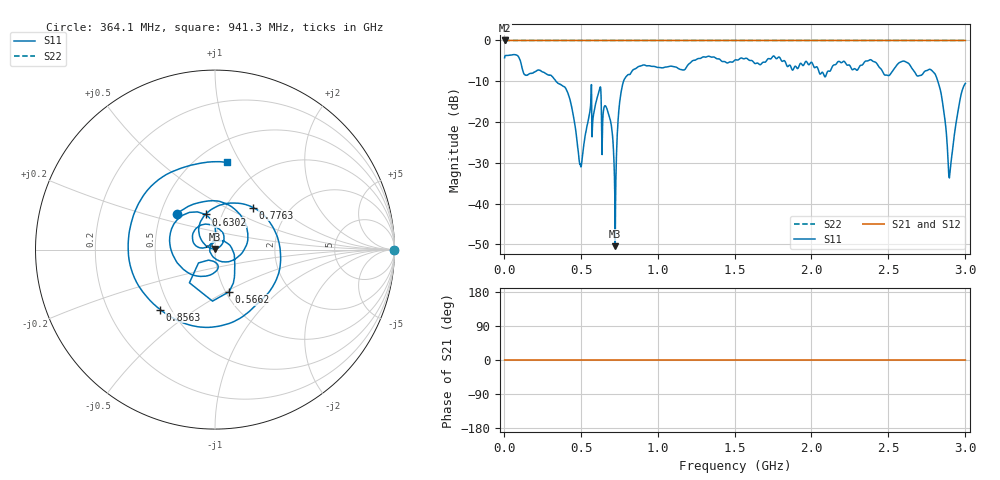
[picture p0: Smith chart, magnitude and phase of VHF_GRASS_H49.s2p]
!Keysight Technologies N9923A: A.08.09
!Date: Thursday, 02 August 2018 08:17:15
!Timezone: (GMT+08:00) Kuala Lumpur, Singapore
!Model: N9923A
!Serial: MY52412143
!GPS Latitude:
!GPS Longitude:
!GPS TimeStamp: 0001-01-01 00:00:00Z
!GPS Seconds Since Last Read: 0
!CHECKSUM:2110258566
!Correction: S11(ON U)S21()S12()S22()
!S2P File: Measurements:S11,S21,S12,S22:
# Hz S DB R 50
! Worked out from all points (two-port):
!   3000 points, 2 MHz to 3.002 GHz, reference 50 ohm
!   highest |S21| = 0.00 dB at 2 MHz (marker M1); lowest = 0.0 dB at 2 MHz (marker M2)
!   |S21| within 3 dB of the highest: start of sweep to end of sweep
!   lowest |S11| = -50.5 dB at 722.2 MHz (marker M3), VSWR 1.01, Z = 49.9 + j0.293 ohm
!   |S11| at or under -10 dB: 336 MHz to 776.3 MHz (440.3 MHz wide, 79.2 % of centre); 2.822 GHz to end of sweep
!   |S22| runs from 0.0 to 0.0 dB; largest |S21 - S12| = 0
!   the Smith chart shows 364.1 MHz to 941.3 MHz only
!   S11 on the Smith chart (normalised r, x): 364.1 MHz: 0.61, +0.26; 566.2 MHz: 1.04, -0.52; 630.2 MHz: 0.84, +0.34; 776.3 MHz: 1.33, +0.69; 856.3 MHz: 0.44, -0.37; 941.3 MHz: 0.68, +0.87
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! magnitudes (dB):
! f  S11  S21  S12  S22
! 2 MHz  -4.3  0.0  0.0  0.0
! 364.1 MHz  -10.7  0.0  0.0  0.0
! 424.1 MHz  -14.1  0.0  0.0  0.0
! 502.2 MHz  -30.6  0.0  0.0  0.0
! 566.2 MHz  -12.1  0.0  0.0  0.0
! 615.2 MHz  -12.7  0.0  0.0  0.0
! 630.2 MHz  -13.9  0.0  0.0  0.0
! 685.2 MHz  -18.9  0.0  0.0  0.0
! 722.2 MHz  -50.5  0.0  0.0  0.0
! 750.2 MHz  -15.4  0.0  0.0  0.0
! 776.3 MHz  -10.0  0.0  0.0  0.0
! 856.3 MHz  -6.9  0.0  0.0  0.0
! 941.3 MHz  -6.2  0.0  0.0  0.0
! 1.002 GHz  -6.6  0.0  0.0  0.0
! 1.503 GHz  -4.8  0.0  0.0  0.0
! 2.003 GHz  -5.4  0.0  0.0  0.0
! 2.503 GHz  -8.6  0.0  0.0  0.0
! 2.596 GHz  -5.1  0.0  0.0  0.0
! 2.799 GHz  -7.9  0.0  0.0  0.0
! 2.849 GHz  -14.1  0.0  0.0  0.0
! 2.901 GHz  -32.5  0.0  0.0  0.0
! 3.002 GHz  -10.5  0.0  0.0  0.0
